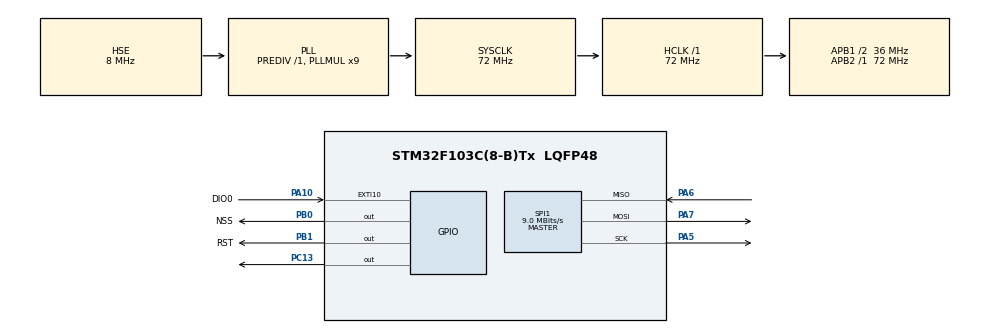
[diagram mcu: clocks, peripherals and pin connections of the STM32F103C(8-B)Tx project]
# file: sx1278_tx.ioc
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Mcu.Family=STM32F1
Mcu.Name=STM32F103C(8-B)Tx
Mcu.Package=LQFP48
NVIC.PriorityGroup=NVIC_PRIORITYGROUP_4
PA10.GPIO_Label=DIO0
PA10.GPIO_ModeDefaultEXTI=GPIO_MODE_IT_RISING
PA10.Signal=GPXTI10
PA13.Mode=Serial_Wire
PA13.Signal=SYS_JTMS-SWDIO
PA14.Mode=Serial_Wire
PA14.Signal=SYS_JTCK-SWCLK
PA5.Mode=Full_Duplex_Master
PA5.Signal=SPI1_SCK
PA6.Mode=Full_Duplex_Master
PA6.Signal=SPI1_MISO
PA7.Mode=Full_Duplex_Master
PA7.Signal=SPI1_MOSI
PB0.GPIO_Label=NSS
PB0.GPIO_PuPd=GPIO_PULLUP
PB0.PinState=GPIO_PIN_SET
PB0.Signal=GPIO_Output
PB1.GPIO_Label=RST
PB1.GPIO_PuPd=GPIO_PULLUP
PB1.GPIO_Speed=GPIO_SPEED_FREQ_LOW
PB1.PinState=GPIO_PIN_SET
PB1.Signal=GPIO_Output
PC13-TAMPER-RTC.Signal=GPIO_Output
PD0-OSC_IN.Mode=HSE-External-Oscillator
PD0-OSC_IN.Signal=RCC_OSC_IN
PD1-OSC_OUT.Mode=HSE-External-Oscillator
PD1-OSC_OUT.Signal=RCC_OSC_OUT
ProjectManager.HeapSize=0x200
ProjectManager.StackSize=0x400
ProjectManager.TargetToolchain=MDK-ARM V5.32
RCC.AHBFreq_Value=72000000
RCC.APB1CLKDivider=RCC_HCLK_DIV2
RCC.APB1Freq_Value=36000000
RCC.APB1TimFreq_Value=72000000
RCC.APB2Freq_Value=72000000
RCC.APB2TimFreq_Value=72000000
RCC.HCLKFreq_Value=72000000
RCC.PLLMUL=RCC_PLL_MUL9
RCC.PLLSourceVirtual=RCC_PLLSOURCE_HSE
RCC.SYSCLKFreq_VALUE=72000000
RCC.SYSCLKSource=RCC_SYSCLKSOURCE_PLLCLK
RCC.USBFreq_Value=72000000
SPI1.BaudRatePrescaler=SPI_BAUDRATEPRESCALER_8
SPI1.CalculateBaudRate=9.0 MBits/s
SPI1.Direction=SPI_DIRECTION_2LINES
SPI1.Mode=SPI_MODE_MASTER
SPI1.VirtualType=VM_MASTER
board=custom

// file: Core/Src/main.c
/* USER CODE BEGIN Header */
/**
  ******************************************************************************
  * @file           : main.c
  * @brief          : Main program body
  ******************************************************************************
  * @attention
  *
  * Copyright (c) 2024 STMicroelectronics.
  * All rights reserved.
  *
  * This software is licensed under terms that can be found in the LICENSE file
  * in the root directory of this software component.
  * If no LICENSE file comes with this software, it is provided AS-IS.
  *
  ******************************************************************************
  */
/* USER CODE END Header */
#include "main.h"
#include "spi.h"
#include "gpio.h"

/* USER CODE BEGIN Includes */
#include "sx1278_selfmade.h"

/* USER CODE END Includes */

/* USER CODE BEGIN PV */
LoRa mylora;
uint8_t lora_stat = 0;
/* USER CODE END PV */

void SystemClock_Config(void);

int main(void)
{

  /* MCU Configuration--------------------------------------------------------*/

  /* Reset of all peripherals, Initializes the Flash interface and the Systick. */
  HAL_Init();

  /* Configure the system clock */
  SystemClock_Config();

  /* Initialize all configured peripherals */
  MX_GPIO_Init();
  MX_SPI1_Init();
  /* USER CODE BEGIN 2 */
	mylora = default_lora();

	mylora.CS_port 				= NSS_GPIO_Port;
	mylora.CS_pin					= NSS_Pin;
	mylora.RS_port				= RST_GPIO_Port;
	mylora.RS_pin					= RST_Pin;
	mylora.DIO0_port			= DIO0_GPIO_Port;
	mylora.DIO0_pin				= DIO0_Pin;
	mylora.hSPIx					= &hspi1;

	mylora.frequency              = 440;
	mylora.spredingFactor         = SF_9;
	mylora.bandWidth						  = BW_31_25KHz;
	mylora.crcRate								= CR_4_5;
	mylora.power									= POWER_20db;
	mylora.overCurrentProtection	= 130;
	mylora.preamble								= 9;

	LoRa_reset1(&mylora);

	lora_stat = lora_init(&mylora);

	if(lora_stat == LORA_OK)
	{
		HAL_GPIO_WritePin(GPIOC, GPIO_PIN_13, GPIO_PIN_SET);
		HAL_Delay(100);
	} else HAL_GPIO_WritePin(GPIOC, GPIO_PIN_13, GPIO_PIN_RESET);

	uint8_t send_data[128];
	send_data[0] = 45;
	send_data[1] = 0x12;
	send_data[2] = 'G';

	lora_transmit(&mylora, send_data, 3, 500);

  /* USER CODE END 2 */

  /* Infinite loop */
  while (1)
  {

    /* USER CODE BEGIN 3 */
		if(lora_transmit(&mylora, send_data, 3, 500) == 1)
		{
			HAL_GPIO_TogglePin(GPIOC, GPIO_PIN_13);
			//HAL_GPIO_WritePin(GPIOC, GPIO_PIN_13, GPIO_PIN_RESET);
		}
		HAL_Delay(500);
  }
  /* USER CODE END 3 */
}

void SystemClock_Config(void)
{
  RCC_OscInitTypeDef RCC_OscInitStruct = {0};
  RCC_ClkInitTypeDef RCC_ClkInitStruct = {0};

  /** Initializes the RCC Oscillators according to the specified parameters
  * in the RCC_OscInitTypeDef structure.
  */
  RCC_OscInitStruct.OscillatorType = RCC_OSCILLATORTYPE_HSE;
  RCC_OscInitStruct.HSEState = RCC_HSE_ON;
  RCC_OscInitStruct.HSEPredivValue = RCC_HSE_PREDIV_DIV1;
  RCC_OscInitStruct.HSIState = RCC_HSI_ON;
  RCC_OscInitStruct.PLL.PLLState = RCC_PLL_ON;
  RCC_OscInitStruct.PLL.PLLSource = RCC_PLLSOURCE_HSE;
  RCC_OscInitStruct.PLL.PLLMUL = RCC_PLL_MUL9;
  if (HAL_RCC_OscConfig(&RCC_OscInitStruct) != HAL_OK)
  {
    Error_Handler();
  }

  /** Initializes the CPU, AHB and APB buses clocks
  */
  RCC_ClkInitStruct.ClockType = RCC_CLOCKTYPE_HCLK|RCC_CLOCKTYPE_SYSCLK
                              |RCC_CLOCKTYPE_PCLK1|RCC_CLOCKTYPE_PCLK2;
  RCC_ClkInitStruct.SYSCLKSource = RCC_SYSCLKSOURCE_PLLCLK;
  RCC_ClkInitStruct.AHBCLKDivider = RCC_SYSCLK_DIV1;
  RCC_ClkInitStruct.APB1CLKDivider = RCC_HCLK_DIV2;
  RCC_ClkInitStruct.APB2CLKDivider = RCC_HCLK_DIV1;

  if (HAL_RCC_ClockConfig(&RCC_ClkInitStruct, FLASH_LATENCY_2) != HAL_OK)
  {
    Error_Handler();
  }
}

void Error_Handler(void)
{
  __disable_irq();
  while (1)
  {
  }
}
